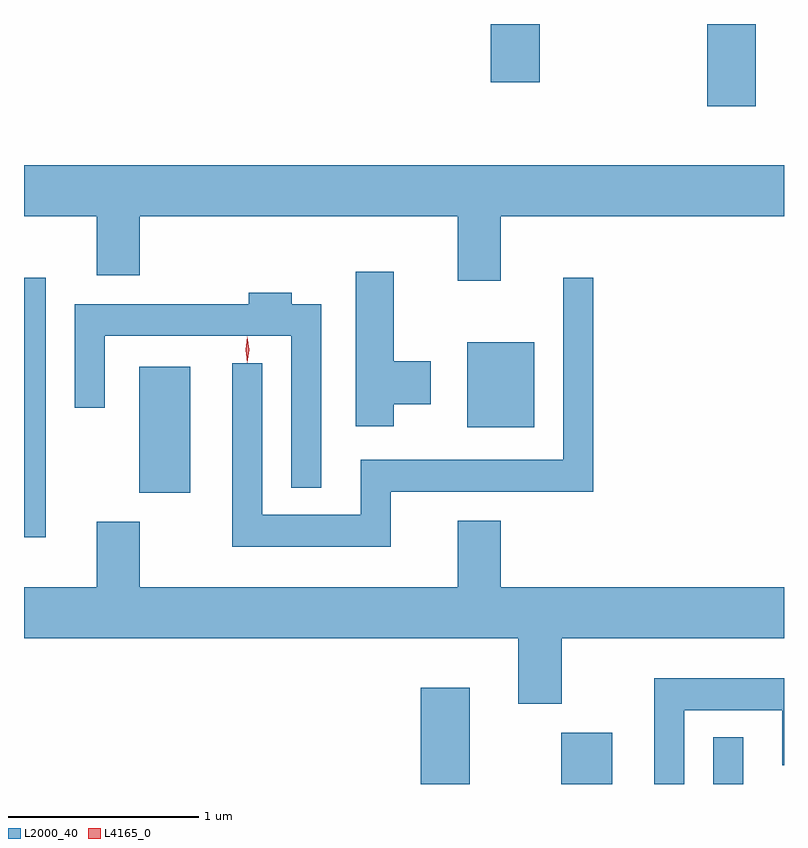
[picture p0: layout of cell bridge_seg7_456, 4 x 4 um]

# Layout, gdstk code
import gdstk
lib = gdstk.Library(unit=1e-6, precision=1e-09)
def R(c, l, rs):  # rectangles x0, y0, x1, y1
    for r in rs: c.add(gdstk.rectangle(r[:2], r[2:], *l))
def P(c, l, *ps):  # polygons
    for p in ps: c.add(gdstk.Polygon(p, *l))
L2000_40 = (2000, 40)
L4165_0 = (4165, 0)

bridge_seg7_456 = lib.new_cell('bridge_seg7_456')
R(bridge_seg7_456, L2000_40, [(1119.176,1731.308,1119.434,1731.814), (1119.916,1731.308,1120.184,1731.579), (1120.716,1731.308,1120.874,1731.553), (1117.089,1732.606,1117.204,1733.973), (1117.696,1732.841,1117.964,1733.504), (1119.421,1733.186,1119.774,1733.634), (1120.686,1734.876,1120.939,1735.308), (1119.546,1735.001,1119.804,1735.308)])
P(bridge_seg7_456, L2000_40, [(1119.599,1734.296),(1121.089,1734.296),(1121.089,1734.564),(1117.089,1734.564),(1117.089,1734.296),(1117.471,1734.296),(1117.471,1733.986),(1117.699,1733.986),(1117.699,1734.296),(1119.371,1734.296),(1119.371,1733.956),(1119.599,1733.956)],
  [(1119.034,1733.306),(1119.229,1733.306),(1119.229,1733.534),(1119.034,1733.534),(1119.034,1734.004),(1118.836,1734.004),(1118.836,1733.191),(1119.034,1733.191)],
  [(1119.019,1732.846),(1120.084,1732.846),(1120.084,1733.973),(1119.926,1733.973),(1119.926,1733.014),(1118.861,1733.014),(1118.861,1732.724),(1118.344,1732.724),(1118.344,1733.523),(1118.186,1733.523),(1118.186,1732.556),(1119.019,1732.556)],
  [(1118.654,1733.834),(1118.499,1733.834),(1118.499,1733.894),(1118.271,1733.894),(1118.271,1733.834),(1117.356,1733.834),(1117.356,1733.288),(1117.514,1733.288),(1117.514,1733.666),(1118.496,1733.666),(1118.496,1732.868),(1118.654,1732.868)],
  [(1119.919,1732.076),(1121.089,1732.076),(1121.089,1732.344),(1119.599,1732.344),(1119.599,1732.694),(1119.371,1732.694),(1119.371,1732.344),(1117.699,1732.344),(1117.699,1732.689),(1117.471,1732.689),(1117.471,1732.344),(1117.089,1732.344),(1117.089,1732.076),(1119.691,1732.076),(1119.691,1731.731),(1119.919,1731.731)],
  [(1120.564,1731.696),(1121.081,1731.696),(1121.081,1731.406),(1121.089,1731.406),(1121.089,1731.864),(1120.406,1731.864),(1120.406,1731.308),(1120.564,1731.308)])
P(bridge_seg7_456, L4165_0, [(1118.264,1733.524),(1118.255,1733.593),(1118.264,1733.662),(1118.265,1733.663),(1118.265,1733.662),(1118.275,1733.593),(1118.265,1733.524),(1118.265,1733.524)])

lib.write_gds('bridge_seg7_456.gds')
